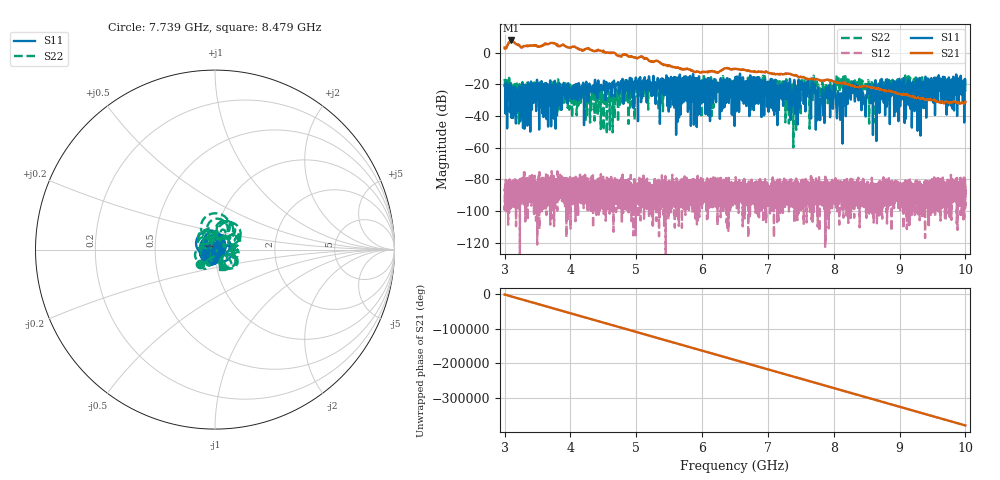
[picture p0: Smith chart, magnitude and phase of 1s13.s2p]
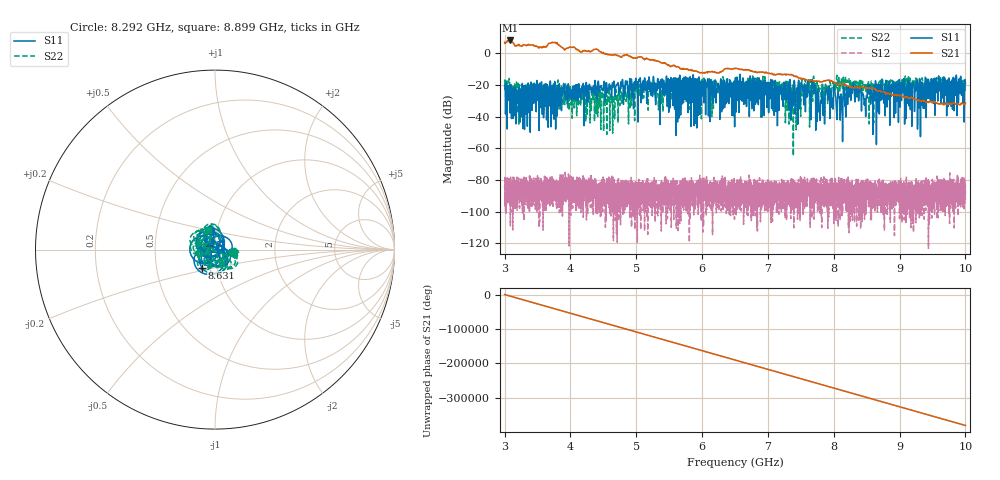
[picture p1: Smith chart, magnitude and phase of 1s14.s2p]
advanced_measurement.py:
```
import numpy as np
import matplotlib.pyplot as plt

def read_s2p(file_path):
    frequency = []
    S21_mag, S21_phase = [], []
    
    with open(file_path, 'r') as file:
        for line in file:
            if not line.startswith('#') and not line.startswith('!'):
                data = line.split()
                frequency.append(float(data[0]))  # Frequency in Hz
                S21_mag.append(float(data[3]))  # S21 magnitude in dB
                S21_phase.append(float(data[4]))  # S21 phase in degrees

    return np.array(frequency), np.array(S21_mag), np.array(S21_phase)

def average_s21(files):
    sum_s21 = 0
    count = 0

    for file in files:
        frequency, S21_mag, S21_phase = read_s2p(file)

        #conversion from dB to linear
        S21_complex = (10 ** (S21_mag / 20)) * np.exp(1j * np.radians(S21_phase))
        sum_s21 += S21_complex
        count += 1


    avg_s21 = sum_s21 / count
    print(avg_s21)
    return frequency, avg_s21


def calibrate_data(reference_data, target_data):
    # Calibrate target data based on reference data
    calibrated_data = target_data / reference_data
    return calibrated_data

def process_files_by_distance(file_groups):
    averaged_data = {}
    for distance, files in file_groups.items():
        _, avg_s21 = average_s21(files)  # Unpack and ignore the frequency
        averaged_data[distance] = avg_s21
    return averaged_data

def plot_power_delay_profile(frequency, avg_s21, max_time_ns=150, color='blue'):
    time_signal = np.fft.ifft(avg_s21)
    time_signal_power = np.abs(time_signal) ** 2

    frequency_resolution = frequency[1] - frequency[0]
    time_step = 1 / ((len(frequency)-1) * frequency_resolution)  # in seconds
    time_step_ns = time_step * 1e9  # Convert time step to nanoseconds
    time_array_ns = np.arange(len(time_signal)) * time_step_ns

    # Truncate the graph at max_time_ns
    max_index = np.where(time_array_ns > max_time_ns)[0][0]
    time_array_ns = time_array_ns[:max_index]
    time_signal_power = time_signal_power[:max_index]

    plt.figure(figsize=(10, 6))

# Assuming calibrated_data is a dictionary with distances as keys and S21 data as values
    colors = ['blue', 'green', 'red', 'cyan', 'magenta', 'yellow', 'black', 'orange']  # Add more colors if needed
    for i, (distance, calib_s21) in enumerate(calibrated_data.items()):
        plot_power_delay_profile(frequency, calib_s21, max_time_ns=150, color=colors[i % len(colors)])

    plt.title('Calibrated Power Delay Profiles')
    plt.xlabel('Time Delay (ns)')
    plt.ylabel('Power (dB)')
    plt.grid(True)
    plt.legend([f'{d}m' for d in calibrated_data.keys()])
    plt.show()




file_groups = {
    1: ['/Users/user/Desktop/Advanced_Measurement/uwb 2/1s13.s2p', 
         '/Users/user/Desktop/Advanced_Measurement/uwb 2/1s14.s2p', 
         '/Users/user/Desktop/Advanced_Measurement/uwb 2/1s23.s2p', 
         '/Users/user/Desktop/Advanced_Measurement/uwb 2/1s24.s2p'],  # 1 meter files
    2:['/Users/user/Desktop/Advanced_Measurement/uwb 2/2s13.s2p', 
         '/Users/user/Desktop/Advanced_Measurement/uwb 2/2s14.s2p', 
         '/Users/user/Desktop/Advanced_Measurement/uwb 2/2s23.s2p', 
         '/Users/user/Desktop/Advanced_Measurement/uwb 2/2s24.s2p'],  # 2 meter files
  
    3:['/Users/user/Desktop/Advanced_Measurement/uwb 2/3s13.s2p', 
         '/Users/user/Desktop/Advanced_Measurement/uwb 2/3s14.s2p', 
         '/Users/user/Desktop/Advanced_Measurement/uwb 2/3s23.s2p', 
         '/Users/user/Desktop/Advanced_Measurement/uwb 2/3s24.s2p'],
    4:['/Users/user/Desktop/Advanced_Measurement/uwb 2/4s13.s2p', 
         '/Users/user/Desktop/Advanced_Measurement/uwb 2/4s14.s2p', 
         '/Users/user/Desktop/Advanced_Measurement/uwb 2/4s23.s2p', 
         '/Users/user/Desktop/Advanced_Measurement/uwb 2/4s24.s2p'],
    5:['/Users/user/Desktop/Advanced_Measurement/uwb 2/5s13.s2p', 
         '/Users/user/Desktop/Advanced_Measurement/uwb 2/5s14.s2p', 
         '/Users/user/Desktop/Advanced_Measurement/uwb 2/5s23.s2p', 
         '/Users/user/Desktop/Advanced_Measurement/uwb 2/5s24.s2p'],
    6:['/Users/user/Desktop/Advanced_Measurement/uwb 2/6s13.s2p', 
         '/Users/user/Desktop/Advanced_Measurement/uwb 2/6s14.s2p', 
         '/Users/user/Desktop/Advanced_Measurement/uwb 2/6s23.s2p', 
         '/Users/user/Desktop/Advanced_Measurement/uwb 2/6s24.s2p'],
    7:['/Users/user/Desktop/Advanced_Measurement/uwb 2/7s13.s2p', 
         '/Users/user/Desktop/Advanced_Measurement/uwb 2/7s14.s2p', 
         '/Users/user/Desktop/Advanced_Measurement/uwb 2/7s23.s2p', 
         '/Users/user/Desktop/Advanced_Measurement/uwb 2/7s24.s2p'],
    8:['/Users/user/Desktop/Advanced_Measurement/uwb 2/8s13.s2p', 
         '/Users/user/Desktop/Advanced_Measurement/uwb 2/8s14.s2p', 
         '/Users/user/Desktop/Advanced_Measurement/uwb 2/8s23.s2p', 
         '/Users/user/Desktop/Advanced_Measurement/uwb 2/8s24.s2p'],
    9:['/Users/user/Desktop/Advanced_Measurement/uwb 2/9s13.s2p', 
         '/Users/user/Desktop/Advanced_Measurement/uwb 2/9s14.s2p', 
         '/Users/user/Desktop/Advanced_Measurement/uwb 2/9s23.s2p', 
         '/Users/user/Desktop/Advanced_Measurement/uwb 2/9s24.s2p'],
    10:['/Users/user/Desktop/Advanced_Measurement/uwb 2/10s13.s2p', 
         '/Users/user/Desktop/Advanced_Measurement/uwb 2/10s14.s2p', 
         '/Users/user/Desktop/Advanced_Measurement/uwb 2/10s23.s2p', 
         '/Users/user/Desktop/Advanced_Measurement/uwb 2/10s24.s2p'],
    11:['/Users/user/Desktop/Advanced_Measurement/uwb 2/11s13.s2p', 
         '/Users/user/Desktop/Advanced_Measurement/uwb 2/11s14.s2p', 
         '/Users/user/Desktop/Advanced_Measurement/uwb 2/11s23.s2p', 
         '/Users/user/Desktop/Advanced_Measurement/uwb 2/11s24.s2p']
}



# Process and average the files for each distance
averaged_data = process_files_by_distance(file_groups)

# Calibrate data against the 1-meter data
calibrated_data = {}
for distance, avg_s21 in averaged_data.items():
    if distance == 1:
        ref_s21 = avg_s21  # Reference data from 1 meter
    else:
        calibrated_data[distance] = calibrate_data(ref_s21, avg_s21)

# Plot calibrated data for each distance
frequency, S21_mag, S21_phase = read_s2p(file_groups[1][0])
  # Assuming all files have the same frequency points



for distance, calib_s21 in calibrated_data.items():
   plot_power_delay_profile(frequency, calib_s21)
```
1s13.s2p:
!Agilent Technologies,E8363B,MY43030572,A.06.04.32
!Agilent E8363B: A.06.04.32
!Date: Monday, June 06, 2011 14:26:57
!Correction: S11(Full 2 Port(1,2)) S21(Full 2 Port(1,2)) S12(Full 2 Port(1,2)) S22(Full 2 Port(1,2))
!S2P File: Measurements: S11, S21, S12, S22:
# Hz S  dB  R 50
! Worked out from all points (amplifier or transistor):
!   6401 points, 3 GHz to 10 GHz, reference 50 ohm
!   highest |S21| = 7.7 dB at 3.095 GHz (marker M1)
!   |S21| within 3 dB of that: 3.587 GHz to 3.793 GHz (206 MHz wide, 5.58 % of centre)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
!   unconditionally stable (mu >= 1): start of sweep to end of sweep
!   at 4.166 GHz: K = 17896.16, MAG = 1.9 dB, |S12| = -93.0 dB
!   at 6.5 GHz: K = 39505.78, MAG = -10.1 dB, |S12| = -88.0 dB
!   at 10 GHz: K = 1439123.65, MAG = -30.8 dB, |S12| = -98.4 dB
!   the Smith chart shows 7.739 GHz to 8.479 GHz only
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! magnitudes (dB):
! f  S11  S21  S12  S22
! 3 GHz  -20.8  3.3  -96.1  -16.5
! 3.095 GHz  -20.4  7.7  -92.3  -19.2
! 4.123 GHz  -20.6  2.5  -89.0  -31.7
! 6.5 GHz  -19.0  -10.2  -88.0  -21.8
! 7.691 GHz  -23.9  -16.7  -85.3  -14.9
! 7.761 GHz  -22.2  -16.9  -83.9  -20.4
! 7.904 GHz  -27.0  -17.1  -88.8  -27.5
! 8.108 GHz  -26.2  -19.2  -87.8  -21.0
! 8.275 GHz  -22.7  -20.4  -86.1  -19.4
! 8.455 GHz  -27.4  -21.1  -91.4  -21.3
! 10 GHz  -19.2  -30.9  -98.4  -19.3
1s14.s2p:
!Agilent Technologies,E8363B,MY43030572,A.06.04.32
!Agilent E8363B: A.06.04.32
!Date: Monday, June 06, 2011 14:26:07
!Correction: S11(Full 2 Port(1,2)) S21(Full 2 Port(1,2)) S12(Full 2 Port(1,2)) S22(Full 2 Port(1,2))
!S2P File: Measurements: S11, S21, S12, S22:
# Hz S  dB  R 50
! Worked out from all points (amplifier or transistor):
!   6401 points, 3 GHz to 10 GHz, reference 50 ohm
!   highest |S21| = 8.1 dB at 3.08 GHz (marker M1)
!   |S21| within 3 dB of that: 3.652 GHz to 3.827 GHz (174.1 MHz wide, 4.66 % of centre)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
!   unconditionally stable (mu >= 1): start of sweep to end of sweep
!   at 4.166 GHz: K = 7294.70, MAG = 1.0 dB, |S12| = -84.3 dB
!   at 6.5 GHz: K = 25172.25, MAG = -9.4 dB, |S12| = -84.8 dB
!   at 10 GHz: K = 733268.65, MAG = -31.2 dB, |S12| = -92.2 dB
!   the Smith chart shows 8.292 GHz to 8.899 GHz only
!   S11 on the Smith chart (normalised r, x): 8.292 GHz: 0.92, +0.20; 8.631 GHz: 0.85, -0.17; 8.899 GHz: 1.20, -0.03
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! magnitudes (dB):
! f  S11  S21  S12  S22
! 3 GHz  -20.8  7.0  -83.6  -16.5
! 3.08 GHz  -29.7  8.1  -82.6  -22.9
! 4.123 GHz  -20.6  2.0  -90.8  -31.7
! 5.13 GHz  -15.9  -3.9  -95.8  -18.7
! 6.5 GHz  -19.0  -9.5  -84.8  -21.8
! 7.353 GHz  -27.4  -13.5  -82.9  -21.2
! 8.108 GHz  -26.2  -19.4  -83.3  -21.0
! 8.292 GHz  -19.1  -21.6  -89.9  -19.7
! 8.631 GHz  -18.1  -22.7  -80.7  -25.9
! 8.899 GHz  -20.6  -26.5  -83.0  -18.8
! 10 GHz  -19.2  -31.3  -92.2  -19.3
